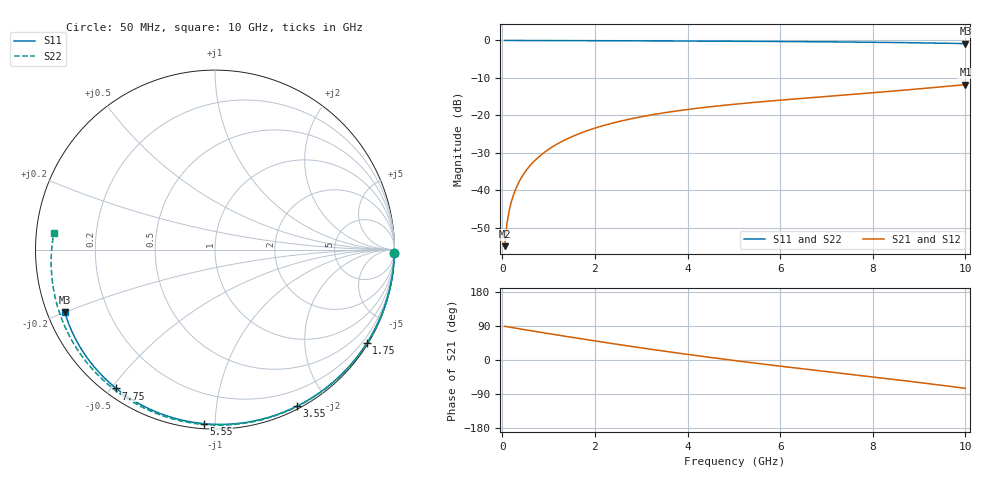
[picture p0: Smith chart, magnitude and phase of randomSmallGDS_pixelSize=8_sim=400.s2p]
! freq	dB(S11)	phase(S11)	dB(S12)	phase(S12)
!  dB(S21)	phase(S21)	dB(S22)	phase(S22)
!S-par simulation data
#  GHz  S  DB  R 50
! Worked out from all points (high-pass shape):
!   200 points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, 50 MHz to 10 GHz, reference 50 ohm
!   highest |S21| = -11.80 dB at 10 GHz (marker M1); lowest = -54.9 dB at 50 MHz (marker M2)
!   |S21| within 3 dB of the highest: 7.155 GHz to end of sweep
!   lowest |S11| = -0.9 dB at 10 GHz (marker M3), VSWR 20.44, Z = 2.54 - j10 ohm
!   |S11| at or under -10 dB: nowhere
!   |S22| runs from -0.9 to 0.0 dB; largest |S21 - S12| = 0
!   S11 on the Smith chart (normalised r, x): 50 MHz: open; 1.75 GHz: 0.04, -3.52; 3.55 GHz: 0.03, -1.65; 5.55 GHz: 0.03, -0.94; 7.75 GHz: 0.03, -0.52; 10 GHz: 0.05, -0.20
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0.05  -0.01 -0.9  -54.89 89.0  -54.89 89.0  -0.01 -1.1
0.1  -0.01 -1.8  -48.87 87.9  -48.87 87.9  -0.01 -2.2
0.15  -0.01 -2.8  -45.35 86.9  -45.35 86.9  -0.01 -3.3
0.2  -0.01 -3.7  -42.86 85.8  -42.86 85.8  -0.01 -4.4
0.25  -0.01 -4.6  -40.93 84.8  -40.93 84.8  -0.01 -5.5
0.35  -0.01 -6.4  -38.02 82.7  -38.02 82.7  -0.01 -7.7
0.5  -0.01 -9.2  -34.95 79.6  -34.95 79.6  -0.02 -10.9
0.7  -0.02 -12.8  -32.07 75.6  -32.07 75.6  -0.02 -15.3
1  -0.03 -18.3  -29.05 69.6  -29.05 69.6  -0.03 -21.8
1.35  -0.04 -24.6  -26.56 62.8  -26.56 62.8  -0.05 -29.3
1.75  -0.06 -31.7  -24.45 55.1  -24.45 55.1  -0.06 -37.7
2.6  -0.09 -46.5  -21.40 39.2  -21.40 39.2  -0.10 -55.1
3.4  -0.13 -60.0  -19.49 25.0  -19.49 25.0  -0.14 -70.9
3.55  -0.13 -62.4  -19.20 22.4  -19.20 22.4  -0.15 -73.7
4.3  -0.17 -74.5  -17.96 9.9  -17.96 9.9  -0.19 -87.7
5.05  -0.22 -86.2  -16.98 -2.0  -16.98 -2.0  -0.24 -101.2
5.55  -0.25 -93.7  -16.41 -9.6  -16.41 -9.6  -0.27 -109.9
6.7  -0.34 -110.5  -15.24 -26.3  -15.24 -26.3  -0.37 -129.4
7.75  -0.45 -125.4  -14.21 -41.2  -14.21 -41.2  -0.49 -146.9
8.35  -0.53 -133.9  -13.60 -49.8  -13.60 -49.8  -0.57 -156.9
9.2  -0.68 -145.8  -12.70 -62.3  -12.70 -62.3  -0.72 -171.6
10  -0.85 -157.3  -11.80 -74.7  -11.80 -74.7  -0.89 174.0
